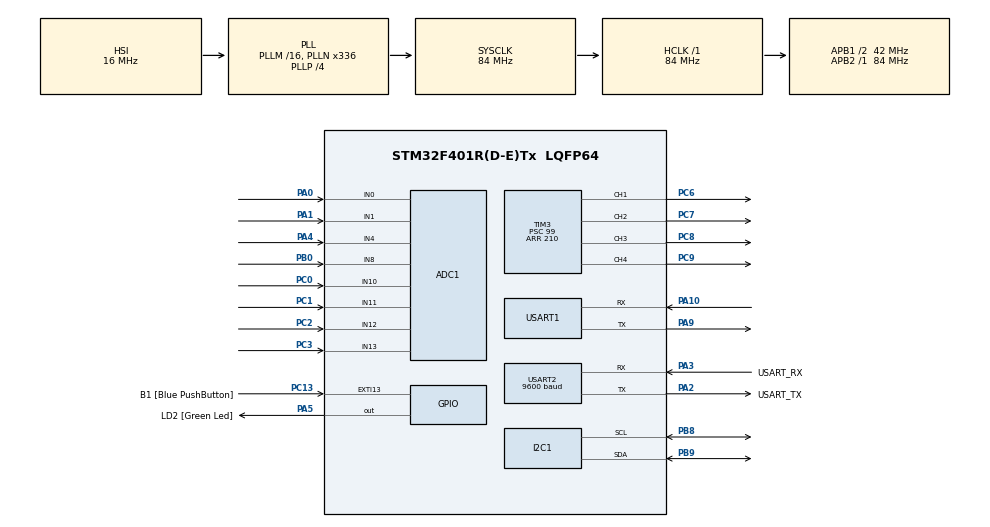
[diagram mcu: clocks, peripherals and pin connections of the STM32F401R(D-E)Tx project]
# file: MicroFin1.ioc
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ADC1.Channel-0\#ChannelRegularConversion=ADC_CHANNEL_0
ADC1.Channel-1\#ChannelRegularConversion=ADC_CHANNEL_1
ADC1.Channel-2\#ChannelRegularConversion=ADC_CHANNEL_4
ADC1.Channel-3\#ChannelRegularConversion=ADC_CHANNEL_8
ADC1.Channel-4\#ChannelRegularConversion=ADC_CHANNEL_11
ADC1.Channel-5\#ChannelRegularConversion=ADC_CHANNEL_10
ADC1.Channel-6\#ChannelRegularConversion=ADC_CHANNEL_12
ADC1.Channel-7\#ChannelRegularConversion=ADC_CHANNEL_13
ADC1.DMAContinuousRequests=ENABLE
ADC1.EOCSelection=ADC_EOC_SEQ_CONV
ADC1.InjNumberOfConversion=0
ADC1.NbrOfConversion=8
ADC1.NbrOfConversionFlag=1
ADC1.Rank-0\#ChannelRegularConversion=1
ADC1.Rank-1\#ChannelRegularConversion=2
ADC1.Rank-2\#ChannelRegularConversion=3
ADC1.Rank-3\#ChannelRegularConversion=4
ADC1.Rank-4\#ChannelRegularConversion=5
ADC1.Rank-5\#ChannelRegularConversion=6
ADC1.Rank-6\#ChannelRegularConversion=7
ADC1.Rank-7\#ChannelRegularConversion=8
ADC1.SamplingTime-0\#ChannelRegularConversion=ADC_SAMPLETIME_15CYCLES
ADC1.SamplingTime-1\#ChannelRegularConversion=ADC_SAMPLETIME_15CYCLES
ADC1.SamplingTime-2\#ChannelRegularConversion=ADC_SAMPLETIME_15CYCLES
ADC1.SamplingTime-3\#ChannelRegularConversion=ADC_SAMPLETIME_15CYCLES
ADC1.SamplingTime-4\#ChannelRegularConversion=ADC_SAMPLETIME_15CYCLES
ADC1.SamplingTime-5\#ChannelRegularConversion=ADC_SAMPLETIME_15CYCLES
ADC1.SamplingTime-6\#ChannelRegularConversion=ADC_SAMPLETIME_15CYCLES
ADC1.SamplingTime-7\#ChannelRegularConversion=ADC_SAMPLETIME_15CYCLES
ADC1.ScanConvMode=ENABLE
ADC1.master=1
Dma.ADC1.0.Direction=DMA_PERIPH_TO_MEMORY
Dma.ADC1.0.FIFOMode=DMA_FIFOMODE_DISABLE
Dma.ADC1.0.Instance=DMA2_Stream0
Dma.ADC1.0.MemDataAlignment=DMA_MDATAALIGN_HALFWORD
Dma.ADC1.0.MemInc=DMA_MINC_ENABLE
Dma.ADC1.0.Mode=DMA_NORMAL
Dma.ADC1.0.PeriphDataAlignment=DMA_PDATAALIGN_HALFWORD
Dma.ADC1.0.PeriphInc=DMA_PINC_DISABLE
Dma.ADC1.0.Priority=DMA_PRIORITY_LOW
Dma.Request0=ADC1
Mcu.Family=STM32F4
Mcu.Name=STM32F401R(D-E)Tx
Mcu.Package=LQFP64
NVIC.ADC_IRQn=true\:0\:0\:false\:false\:true\:true\:true\:true
NVIC.DMA2_Stream0_IRQn=true\:0\:0\:false\:false\:true\:false\:true\:true
NVIC.I2C1_ER_IRQn=true\:0\:0\:false\:false\:true\:true\:true\:true
NVIC.I2C1_EV_IRQn=true\:0\:0\:false\:false\:true\:true\:true\:true
NVIC.PriorityGroup=NVIC_PRIORITYGROUP_0
NVIC.TIM3_IRQn=true\:0\:0\:false\:false\:true\:true\:true\:true
NVIC.USART1_IRQn=true\:0\:0\:false\:false\:true\:true\:true\:true
PA0-WKUP.Signal=ADCx_IN0
PA1.Signal=ADCx_IN1
PA10.Mode=Asynchronous
PA10.Signal=USART1_RX
PA13.GPIO_Label=TMS
PA13.Mode=Serial_Wire
PA13.Signal=SYS_JTMS-SWDIO
PA14.GPIO_Label=TCK
PA14.Mode=Serial_Wire
PA14.Signal=SYS_JTCK-SWCLK
PA2.GPIO_Label=USART_TX
PA2.GPIO_Mode=GPIO_MODE_AF_PP
PA2.GPIO_PuPd=GPIO_NOPULL
PA2.GPIO_Speed=GPIO_SPEED_FREQ_LOW
PA2.Mode=Asynchronous
PA2.Signal=USART2_TX
PA3.GPIO_Label=USART_RX
PA3.GPIO_Mode=GPIO_MODE_AF_PP
PA3.GPIO_PuPd=GPIO_NOPULL
PA3.GPIO_Speed=GPIO_SPEED_FREQ_LOW
PA3.Mode=Asynchronous
PA3.Signal=USART2_RX
PA4.Signal=ADCx_IN4
PA5.GPIO_Label=LD2 [Green Led]
PA5.GPIO_Mode=GPIO_MODE_OUTPUT_PP
PA5.GPIO_PuPd=GPIO_NOPULL
PA5.GPIO_Speed=GPIO_SPEED_FREQ_LOW
PA5.Signal=GPIO_Output
PA9.Mode=Asynchronous
PA9.Signal=USART1_TX
PB0.Signal=ADCx_IN8
PB3.GPIO_Label=SWO
PB3.Signal=SYS_JTDO-SWO
PB8.Mode=I2C
PB8.Signal=I2C1_SCL
PB9.Mode=I2C
PB9.Signal=I2C1_SDA
PC0.Signal=ADCx_IN10
PC1.Signal=ADCx_IN11
PC13-ANTI_TAMP.GPIO_Label=B1 [Blue PushButton]
PC13-ANTI_TAMP.GPIO_ModeDefaultEXTI=GPIO_MODE_IT_FALLING
PC13-ANTI_TAMP.GPIO_PuPd=GPIO_NOPULL
PC13-ANTI_TAMP.Signal=GPXTI13
PC14-OSC32_IN.Mode=LSE-External-Oscillator
PC14-OSC32_IN.Signal=RCC_OSC32_IN
PC15-OSC32_OUT.Mode=LSE-External-Oscillator
PC15-OSC32_OUT.Signal=RCC_OSC32_OUT
PC2.Signal=ADCx_IN12
PC3.Signal=ADCx_IN13
PC6.Signal=S_TIM3_CH1
PC7.Signal=S_TIM3_CH2
PC8.Signal=S_TIM3_CH3
PC9.Signal=S_TIM3_CH4
PH0\ -\ OSC_IN.Mode=HSE-External-Clock-Source
PH0\ -\ OSC_IN.Signal=RCC_OSC_IN
PH1\ -\ OSC_OUT.Mode=HSE-External-Clock-Source
PH1\ -\ OSC_OUT.Signal=RCC_OSC_OUT
ProjectManager.HeapSize=0x200
ProjectManager.StackSize=0x400
ProjectManager.TargetToolchain=STM32CubeIDE
RCC.48MHZClocksFreq_Value=48000000
RCC.AHBFreq_Value=84000000
RCC.APB1CLKDivider=RCC_HCLK_DIV2
RCC.APB1Freq_Value=42000000
RCC.APB1TimFreq_Value=84000000
RCC.APB2Freq_Value=84000000
RCC.APB2TimFreq_Value=84000000
RCC.CortexFreq_Value=84000000
RCC.HCLKFreq_Value=84000000
RCC.HSE_VALUE=8000000
RCC.HSI_VALUE=16000000
RCC.PLLN=336
RCC.PLLP=RCC_PLLP_DIV4
RCC.PLLQ=7
RCC.SYSCLKFreq_VALUE=84000000
RCC.SYSCLKSource=RCC_SYSCLKSOURCE_PLLCLK
RCC.VCOOutputFreq_Value=336000000
SH.ADCx_IN0.0=ADC1_IN0,IN0
SH.ADCx_IN1.0=ADC1_IN1,IN1
SH.ADCx_IN10.0=ADC1_IN10,IN10
SH.ADCx_IN11.0=ADC1_IN11,IN11
SH.ADCx_IN12.0=ADC1_IN12,IN12
SH.ADCx_IN13.0=ADC1_IN13,IN13
SH.ADCx_IN4.0=ADC1_IN4,IN4
SH.ADCx_IN8.0=ADC1_IN8,IN8
SH.S_TIM3_CH1.0=TIM3_CH1,PWM Generation1 CH1
SH.S_TIM3_CH2.0=TIM3_CH2,PWM Generation2 CH2
SH.S_TIM3_CH3.0=TIM3_CH3,PWM Generation3 CH3
SH.S_TIM3_CH4.0=TIM3_CH4,PWM Generation4 CH4
TIM3.AutoReloadPreload=TIM_AUTORELOAD_PRELOAD_ENABLE
TIM3.Channel-PWM\ Generation1\ CH1=TIM_CHANNEL_1
TIM3.Channel-PWM\ Generation2\ CH2=TIM_CHANNEL_2
TIM3.Channel-PWM\ Generation3\ CH3=TIM_CHANNEL_3
TIM3.Channel-PWM\ Generation4\ CH4=TIM_CHANNEL_4
TIM3.Period=210
TIM3.Prescaler=99
TIM4.AutoReloadPreload=TIM_AUTORELOAD_PRELOAD_ENABLE
TIM4.Period=42
TIM4.Prescaler=999
USART1.VirtualMode=VM_ASYNC
USART2.BaudRate=9600
USART2.VirtualMode=VM_ASYNC
VP_TIM3_VS_ClockSourceINT.Mode=Internal
VP_TIM4_VS_ClockSourceINT.Mode=Internal
board=NUCLEO-F401RE

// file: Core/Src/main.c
/* USER CODE BEGIN Header */
/**
  ******************************************************************************
  * @file           : main.c
  * @brief          : Main program body
  ******************************************************************************
  * @attention
  *
  * <h2><center>&copy; Copyright (c) 2021 STMicroelectronics.
  * All rights reserved.</center></h2>
  *
  * This software component is licensed by ST under BSD 3-Clause license,
  * the "License"; You may not use this file except in compliance with the
  * License. You may obtain a copy of the License at:
  *                        opensource.org/licenses/BSD-3-Clause
  *
  ******************************************************************************
  */
/* USER CODE END Header */
#include "main.h"

/* USER CODE BEGIN Includes */
#include "string.h"
#include "stdlib.h"
/* USER CODE END Includes */

/* USER CODE BEGIN PTD */
 typedef union{
        uint8_t u8[4];
        int8_t  i8[4];

        uint16_t u16[2];
        int16_t  i16[2];

        uint32_t u32;
        int32_t  i32;

        float    f;
}_sWork;

typedef union{
    struct{
        uint8_t b0:1;
        uint8_t b1:1;
        uint8_t b2:1;
        uint8_t b3:1;
        uint8_t b4:1;
        uint8_t b5:1;
        uint8_t b6:1;
        uint8_t b7:1;
    }bit;
    uint8_t byte;
}flag;

/* USER CODE END PTD */

/* USER CODE BEGIN PM */
#define race 				flag1.bit.b0
#define ON100MS				flag1.bit.b1
#define ON10MS				flag1.bit.b2
#define stop				flag1.bit.b3
#define readyToSend			flag1.bit.b4
#define espReadyToRecieve	flag1.bit.b5
#define killRace			flag1.bit.b6
#define espConnected		flag2.bit.b0
#define sendALIVE			flag2.bit.b1

#define UART_PC		2
#define UART_ESP	1
#define LONG_CWJAP_MEGA	36
#define LONG_CWJAP_MICROS	35
#define LONG_ANS_CWJAP_MEGA	70
#define LONG_ANS_CWJAP_MICROS 70
const char CWJAP_MEGA[]="AT+CWJAP=\"FTTHBOUVET\",\"wenvla3112\"\r\n";
const char CWJAP_MICROS[]="AT+CWJAP=\"MICROS\",\"micros1234567\"\r\n";
const char CIFSR[]="AT+CIFSR\r\n";
const char CIPMUX[]="AT+CIPMUX=0\r\n";
const char CIPSTART[]="AT+CIPSTART=\"UDP\",\"192.168.1.195\",30017,3017\r\n";
const char CIPSEND[]="AT+CIPSEND=";
const char CIPCLOSE[]="AT+CIPCLOSE\r\n";
const char CWQAP[]= "AT+CWQAP\r\n";
const char CWMODE[]="AT+CWMODE=3\r\n";
const char ANS_CWQAP[]="AT+CWQAP\r\n\r\nOK\r\n";
const char ANS_CWMODE[]="AT+CWMODE=3\r\n\r\nOK\r\n";
const char ANS_CWJAP_MEGA[]="AT+CWJAP=\"FTTHBOUVET\",\"wenvla3112\"\r\nWIFI CONNECTED\r\nWIFI GOT IP\r\n\r\nOK\r\n";
const char ANS_CWJAP_MICROS[]="AT+CWJAP=\"MICROS\",\"micros1234567\"\r\nWIFI CONNECTED\r\nWIFI GOT IP\r\n\r\nOK\r\n";

const char ANS_CIPMUX[]="AT+CIPMUX=0\r\n\r\nOK\r\n";
const char ANS_CIPSTART[]="AT+CIPSTART=\"UDP\",\"192.168.1.195\",30017,3017\r\nCONNECT\r\n\r\nOK\r\n";//61
const char ANS_CIPSEND[]={};
const char AUTOMATIC_WIFI_CONNECTED[]={"WIFI CONNECTED\r\nWIFI GOT IP\r\n"};
const char WIFI_DISCONNECT[]="WIFI DISCONNECT\r\n";
const char CIFSR_STAIP[]="+CIFSR:STAIP,";
const char OK[]="\r\nOK\r\n";
const char CIPSEND1[]={'A','T','+','C','I','P','S','E','N','D','='};
const char CIPSEND2[]={'\r','\n','\r','\n','O','K','\r','\n','>'};
const char CIPSEND3[]="Recv ";
const char CIPSEND4[]={" bytes\r\n\r\nSEND OK\r\n"};//25
const char IPD[]="\r\n+IPD,";
const char UNER[]="UNER";
const char ALIVE[]={'U','N','E','R', 0x02 ,':',0xF0};
const char ACK_D0[]={'U','N','E','R',0x03,':',0xD0,0x0D,0xDC};
const int COORD_SENSORES[]={-5,-4,-3,-2,-1,1,2,3,4,5};
/* USER CODE END PM */

ADC_HandleTypeDef hadc1;
DMA_HandleTypeDef hdma_adc1;

I2C_HandleTypeDef hi2c1;

TIM_HandleTypeDef htim3;
TIM_HandleTypeDef htim4;

UART_HandleTypeDef huart1;
UART_HandleTypeDef huart2;

/* USER CODE BEGIN PV */

volatile uint16_t ADCData[32][8];

volatile uint8_t bufferTxESP[256];
volatile uint8_t bufferRxESP[256];
volatile uint8_t bufferDebug[256];
volatile uint8_t buffer_PC_RX[256];
volatile uint8_t indexR_TxESP=0;
volatile uint8_t indexW_TxESP=0;
volatile uint8_t indexR_RxESP=0;
volatile uint8_t indexW_RxESP=0;
volatile uint8_t indexR_Debug=0;
volatile uint8_t indexW_Debug=0;
volatile uint8_t indexR_PC_RX=0;
volatile uint8_t indexW_PC_RX=0;
uint8_t AT=0;

volatile uint8_t time100ms;
volatile uint8_t time10ms;
uint8_t timeOut=0;
uint8_t timeOut2=0;
uint8_t timeOut3=0;
uint8_t timeToSendAlive=0;
uint8_t timeOutADC=0;
uint8_t timeOutPID=0;

uint8_t duty=0;
uint8_t decodeCIPSEND=0;
uint8_t decodeCIFSR=0;
char espIP[15];
uint8_t lengthIP=0;

uint32_t cmdUNERprotocol;
uint8_t bytesUNERprotocol;
uint8_t decodeIPD;
uint8_t cantBytes;
uint8_t cks;
uint8_t bytesToSend;
uint8_t comando=0xF0;
volatile uint8_t indexADC=0;
uint8_t bytesToSend_aux=0;

_sWork PWM_motor1,PWM_motor2,jobTime,error;
_sWork valueADC[8];
volatile flag flag1,flag2;

_sWork Kp,Kd,Ki;
float integral=0,derivativo=0,turn=0,Error=0,lastError=0;

uint8_t comandoActual=0;

uint8_t firstCalcu=1,timeOutArranque;
_sWork pwmBase;

/* USER CODE END PV */

void SystemClock_Config(void);
static void MX_GPIO_Init(void);
static void MX_DMA_Init(void);
static void MX_USART2_UART_Init(void);
static void MX_ADC1_Init(void);
static void MX_I2C1_Init(void);
static void MX_TIM3_Init(void);
static void MX_TIM4_Init(void);
static void MX_USART1_UART_Init(void);
/* USER CODE BEGIN PFP */

void HAL_UART_RxCpltCallback(UART_HandleTypeDef *huart);
void uartTX(uint8_t uart);
void initESP();
void DecodeAnsESP();
void udpCom(uint8_t cmd);
void DecodeCommands(uint8_t *buffer,uint8_t cmdPosInBuff);
void readADC();
void SerialCom(uint8_t cmd);
float findTheLine();
void DecodeQT();
void calculatePID(uint32_t pwmBase1,uint32_t pwmBase2);

/* USER CODE END PFP */

/* USER CODE BEGIN 0 */

void HAL_UART_RxCpltCallback(UART_HandleTypeDef *huart){
	if(huart->Instance==USART1){
		indexW_RxESP++;
		HAL_UART_Receive_IT(&huart1,(uint8_t *) &bufferRxESP[indexW_RxESP], 1);
	}

	if(huart->Instance==USART2){
		indexW_PC_RX++;
		HAL_UART_Receive_IT(&huart1,(uint8_t *) &buffer_PC_RX[indexW_PC_RX], 1);
	}
}

void HAL_ADC_ConvCpltCallback(ADC_HandleTypeDef* hadc)
{
	indexADC++;
	if(indexADC == 32)
		indexADC=0;

}

void HAL_TIM_PeriodElapsedCallback(TIM_HandleTypeDef *htim){
	if(htim->Instance == TIM4){
		HAL_ADC_Start_DMA(&hadc1, (uint32_t *)&ADCData[indexADC],8);

		time100ms--;
		if(!time100ms){
			time100ms=200;
			ON100MS = 1;
		}
		time10ms--;
		if(!time10ms){
			time10ms=20;
			ON10MS = 1;
		}

	}
}

void DecodeAnsESP(){
	static uint8_t i=0,k=1,cmdPosInBuff;
//	bufferDebug[indexW_Debug]=bufferRxESP[indexR_RxESP];
//	indexW_Debug++;
	switch(AT){
		case 0:
			if(bufferRxESP[indexR_RxESP]==ANS_CWMODE[i]){
				i++;
				if(i==19){
					AT++;
					i=0;
					readyToSend=1;
				}
			}else{
				if(!timeOut2){
					indexR_RxESP=indexW_RxESP;
					readyToSend=1;
					i=0;
					break;
				}
			}
			break;

		case 1:
			if(bufferRxESP[indexR_RxESP]==AUTOMATIC_WIFI_CONNECTED[i]){
				i++;
				if(i==29){
					AT=3;
					i=0;
					readyToSend=1;
				}
			}
			else{
				if(bufferRxESP[indexR_RxESP]==WIFI_DISCONNECT[i]){
					i++;
					if(i==17){
						AT=0;
						i=0;
						readyToSend=1;
						HAL_UART_AbortReceive_IT(&huart1);
						HAL_GPIO_WritePin(GPIOB, GPIO_PIN_10, GPIO_PIN_RESET);//Reset ESP8266
						timeOut=20;
					}
				}else{
					AT=2;
					i=0;
					readyToSend=1;
					indexR_RxESP=indexW_RxESP;
					break;
				}
			}
			break;
		case 2:
			if(bufferRxESP[indexR_RxESP]==ANS_CWJAP_MEGA[i]){
				i++;

				if(i==LONG_ANS_CWJAP_MEGA){
					AT++;
					i=0;
					readyToSend=1;
				}
			}
			else{
				if(!timeOut2){
					indexR_RxESP=indexW_RxESP;
					readyToSend=1;
					i=0;
					break;
				}
			}
			break;
		case 3:
			if(bufferRxESP[indexR_RxESP]==ANS_CIPMUX[i]){
				i++;
				if(i==19){
					AT+=2;
					i=0;
					readyToSend=1;
				}
			}else{
				if(!timeOut2){
					indexR_RxESP=indexW_RxESP;
					readyToSend=1;
					i=0;
					break;
				}
			}
			break;
		case 4:
			switch(decodeCIFSR){
				case 0:
					if(bufferRxESP[indexR_RxESP]==CIFSR[i]){
						i++;

						if(i==10){
							decodeCIFSR++;
							i=0;
						}
					}else{
						if(!timeOut2){
							indexR_RxESP=indexW_RxESP;
							readyToSend=1;
							i=0;
							break;
						}
					}
					break;
				case 1:
					if(bufferRxESP[indexR_RxESP]==CIFSR_STAIP[i]){
						i++;
						if(i==13){
							decodeCIFSR++;
							i=0;
						}
					}
					break;
				case 2:
					espIP[i]=bufferRxESP[indexR_RxESP];
					i++;
					lengthIP++;
					if((bufferRxESP[indexR_RxESP]=='"')&&(lengthIP>1)){
						i=0;
						decodeCIFSR++;
					}
					break;
				case 3:
					if(bufferRxESP[indexR_RxESP]==OK[i]){
						i++;
						if(i==6){
							AT++;
							i=0;
							readyToSend=1;
							decodeCIFSR=0;
						}
					}
					break;
			}

			break;
		case 5:
			if(bufferRxESP[indexR_RxESP]==ANS_CIPSTART[i]){
				i++;
				if(i==60){
					AT++;
					i=0;
					readyToSend=1;
					espConnected=1;
				}
			}else{
				if(!timeOut2){
					indexR_RxESP=indexW_RxESP;
					readyToSend=1;
					i=0;
					break;
				}
			}
			break;
		case 6:
			switch(decodeCIPSEND){
					case 0:
						if(bufferRxESP[indexR_RxESP]==CIPSEND1[i]){
							i++;
							if(i==11){
								i=0;
								decodeCIPSEND++;
							}
						}
						else{
							if(!timeOut2){
								indexR_RxESP=indexW_RxESP;
								readyToSend=1;
								i=0;
								espReadyToRecieve=0;
								sendALIVE=0;
								timeToSendAlive=30;
								break;
							}
						}
						break;
					case 1:
						if((bufferRxESP[indexR_RxESP]==bytesToSend+'0')&&((bytesToSend<10))){
							decodeCIPSEND+=2;
						}else{

							if(bufferRxESP[indexR_RxESP]==bytesToSend/10+'0'){
								decodeCIPSEND++;
								bytesToSend_aux=bytesToSend/10;
								bytesToSend_aux*=10;
							}

						}
						break;
					case 2:
						if(bufferRxESP[indexR_RxESP]==bytesToSend-bytesToSend_aux+'0'){
							decodeCIPSEND++;
						}
						break;
					case 3:
						if(bufferRxESP[indexR_RxESP]==CIPSEND2[i]){
							i++;
							if(i==9){
								i=0;
								decodeCIPSEND++;
								espReadyToRecieve=1;
								readyToSend=1;
							}
						}else{
							if(!timeOut2){
								i=0;
								decodeCIPSEND=0;
								espReadyToRecieve=0;
								readyToSend=1;
								indexR_RxESP=indexW_RxESP;
								sendALIVE=0;
								timeToSendAlive=30;
								return;
							}
						}

						break;
					case 4:
						if(bufferRxESP[indexR_RxESP]==CIPSEND3[i]){
							i++;
							if(i==5){
								i=0;
								decodeCIPSEND++;
							}
						}else{
							if(!timeOut2){
								i=0;
								decodeCIPSEND=0;
								espReadyToRecieve=0;
								readyToSend=1;
								indexR_RxESP=indexW_RxESP;
								sendALIVE=0;
								timeToSendAlive=30;
								break;
							}
						}
						break;
					case 5:
						if((bufferRxESP[indexR_RxESP]==bytesToSend+'0')&&((bytesToSend<10))){
							decodeCIPSEND++;
							decodeCIPSEND++;
						}else{

							if(bufferRxESP[indexR_RxESP]==bytesToSend/10+'0'){
								decodeCIPSEND++;
							}else{
								i=0;
								decodeCIPSEND=0;
								espReadyToRecieve=0;
								readyToSend=1;
								indexR_RxESP=indexW_RxESP;
								sendALIVE=0;
								timeToSendAlive=30;
								break;
							}
						}
						break;
					case 6:
						if(bufferRxESP[indexR_RxESP]==bytesToSend-bytesToSend_aux+'0'){
							decodeCIPSEND++;
						}else{
							i=0;
							decodeCIPSEND=0;
							espReadyToRecieve=0;
							readyToSend=1;
							indexR_RxESP=indexW_RxESP;
							sendALIVE=0;
							timeToSendAlive=30;
							break;
						}
						break;
					case 7:
						if(bufferRxESP[indexR_RxESP]==CIPSEND4[i]){
							i++;
							if(i==19){
								i=0;
								decodeCIPSEND=0;
								readyToSend=1;
								espReadyToRecieve=0;
							}
						}else{
							if(!timeOut2){
								indexR_RxESP=indexW_RxESP;
								i=0;
								decodeCIPSEND=0;
								espReadyToRecieve=0;
								readyToSend=1;
								sendALIVE=0;
								timeToSendAlive=30;
								break;
							}
						}
						break;
				}

			break;
		case 7:
			switch(decodeIPD){
				case 0:
					if(bufferRxESP[indexR_RxESP]==IPD[i]){
						i++;

						if(i==7){
							i=0;
							decodeIPD++;
						}
					}
					else{
						if(i>0){
							indexR_RxESP=indexW_RxESP;
							i=0;
							break;
						}
					}
					break;
				case 1:
					if(bufferRxESP[indexR_RxESP]==':'){
						decodeIPD++;
					}
					break;
				case 2:
					if(bufferRxESP[indexR_RxESP]==UNER[i]){
						i++;
						if(i==4){
							i=0;
							decodeIPD++;
							cks='U'^'N'^'E'^'R';
						}
					}else{
						if(i>0){
							indexR_RxESP=indexW_RxESP;
							i=0;
							decodeIPD=0;
							break;
						}
					}
					break;
				case 3:
					bytesUNERprotocol=bufferRxESP[indexR_RxESP];
					decodeIPD++;
					cks^=bufferRxESP[indexR_RxESP];

					break;
				case 4:
					if(bufferRxESP[indexR_RxESP]==':'){
						decodeIPD++;
						cks^=bufferRxESP[indexR_RxESP];

					}else{
						indexR_RxESP=indexW_RxESP;
						i=0;
						decodeIPD=0;
						break;
					}
					break;
				case 5:
					if(k==1)
						cmdPosInBuff=indexR_RxESP;
					if(k<bytesUNERprotocol){
						cks^=bufferRxESP[indexR_RxESP];
						k++;
					}else{
						if(cks==bufferRxESP[indexR_RxESP]){
							DecodeCommands((uint8_t*)&bufferRxESP,cmdPosInBuff);
							HAL_GPIO_TogglePin(LD2_GPIO_Port, LD2_Pin);
							k=1;
							i=0;
							decodeIPD=0;
						}else{
							i=0;
							decodeIPD=0;
							k=1;
						}
					}
					break;
			}
			break;
			default:

				break;
	}
	indexR_RxESP++;
}

uint8_t posMINCenter=0,posMINRight=0,posMINLeft=0;
uint16_t sensorValue=0;
float xMin=0,fx2_fx3,fx2_fx1,x2_x1,x2_x3,x2_x1cuad,x2_x3cuad,denominador;
uint8_t f=0;

float findTheLine(){//ALGORITMO CUADRATICO
	float aux[10];

	sensorValue = valueADC[0].u16[0];

	posMINCenter=0;
	while(f<8){					//ENCUENTRO LA MENOR LECTURA
		if(sensorValue > valueADC[f].u16[0]){
			sensorValue=valueADC[f].u16[0];
			posMINCenter=f;
		}
		aux[f+1]=valueADC[f].u16[0];
		f+=1;
	}
	f=0;
	posMINCenter+=1;
	aux[0]=aux[2];
	aux[9]=aux[7];

	posMINRight=posMINCenter-1;
	posMINLeft=posMINCenter+1;
	fx2_fx3=aux[posMINCenter]-aux[posMINRight];
	fx2_fx1=aux[posMINCenter]-aux[posMINLeft];
	x2_x1=COORD_SENSORES[posMINCenter]-COORD_SENSORES[posMINLeft];
	x2_x1cuad=(x2_x1*x2_x1);
	x2_x3=COORD_SENSORES[posMINCenter]-COORD_SENSORES[posMINRight];
	x2_x3cuad=(x2_x3*x2_x3);
	denominador=(2*(x2_x1*fx2_fx3-x2_x3*fx2_fx1));
	if(denominador!=0){
		xMin=COORD_SENSORES[posMINCenter]-( x2_x1cuad*fx2_fx3 - x2_x3cuad*fx2_fx1 ) / denominador;
	}
	return -xMin;
}

void readADC(){
static uint8_t firstRead=1;

	if(indexADC>2){
		firstRead=0;
		for(uint8_t c=0;c<8;c++){
			valueADC[c].u32=( ADCData[indexADC-1][c]+ADCData[indexADC-2][c]+ADCData[indexADC-3][c] ) / 3 ;
		}
	}
	else{
		if(!firstRead){
			for(uint8_t c=0;c<8;c++){
				switch(indexADC){
					case 2:
						valueADC[c].u32=(ADCData[1][c]+ADCData[0][c]+ADCData[31][c]) / 3;
						break;
					case 1:
						valueADC[c].u32=( ADCData[0][c]+ADCData[31][c]+ADCData[30][c] ) / 3 ;
						break;
					case 0:
						valueADC[c].u32=( ADCData[31][c]+ADCData[30][c]+ADCData[29][c] ) / 3;
						break;
				}
			}
		}
	}
}

void uartTX(uint8_t uart){

	if(uart == UART_PC ){
		if((huart2.Instance->SR & UART_FLAG_TXE)==UART_FLAG_TXE){
			huart2.Instance->DR=bufferDebug[indexR_Debug];
			indexR_Debug++;
		}
	}

	if(uart == UART_ESP ){
		if((huart1.Instance->SR & UART_FLAG_TXE)==UART_FLAG_TXE){
			huart1.Instance->DR=bufferTxESP[indexR_TxESP];
			indexR_TxESP++;
		}
	}
}

void SerialCom(uint8_t cmd){
	uint8_t cks,h=0;
	switch(cmd){
		case 0xA1:

			memcpy((uint8_t*)&bufferDebug[indexW_Debug],UNER,4);
			indexW_Debug+=4;
			cks='U'^'N'^'E'^'R';

			bufferDebug[indexW_Debug]=22;
			indexW_Debug+=1;
			cks^=22;

			bufferDebug[indexW_Debug]=':';
			indexW_Debug+=1;
			cks^=':';

			bufferDebug[indexW_Debug]=0xA1;
			indexW_Debug+=1;
			cks^=0xA1;
			h=0;
			while(h<8){
				bufferDebug[indexW_Debug]=valueADC[h].u8[0];
				indexW_Debug+=1;
				cks^=valueADC[h].u8[0];
				bufferDebug[indexW_Debug]=valueADC[h].u8[1];
				indexW_Debug+=1;
				cks^=valueADC[h].u8[1];
				h+=1;
			}

			bufferDebug[indexW_Debug]=error.u8[0];
			cks^=error.u8[0];
			indexW_Debug+=1;

			bufferDebug[indexW_Debug]=error.u8[1];
			cks^=error.u8[1];
			indexW_Debug+=1;

			bufferDebug[indexW_Debug]=error.u8[2];
			cks^=error.u8[2];
			indexW_Debug+=1;

			bufferDebug[indexW_Debug]=error.u8[3];
			cks^=error.u8[3];
			indexW_Debug+=1;

			bufferDebug[indexW_Debug]=cks;
			indexW_Debug+=1;

			break;
	}
}

void  initESP(){

	if(readyToSend){
		switch(AT){
			case 0:
				memcpy((uint8_t *)&bufferTxESP[indexW_TxESP],CWMODE,13);
				indexW_TxESP+=13;
				timeOut2=10;
				readyToSend=0;
				break;
			case 1:
				timeOut2=100;
				readyToSend=0;
				break;
			case 2:
				memcpy((uint8_t *)&bufferTxESP[indexW_TxESP],CWJAP_MEGA,LONG_CWJAP_MEGA);
				indexW_TxESP+=LONG_CWJAP_MEGA;
				timeOut2=50;
				readyToSend=0;
				break;
			case 3:
				memcpy((uint8_t *)&bufferTxESP[indexW_TxESP],CIPMUX,13);
				indexW_TxESP+=13;
				timeOut2=20;
				readyToSend=0;
				break;
			case 4:
				memcpy((uint8_t *)&bufferTxESP[indexW_TxESP],CIFSR,10);
				indexW_TxESP+=10;
				timeOut2=20;
				readyToSend=0;
				break;
			case 5:
				memcpy((uint8_t *)&bufferTxESP[indexW_TxESP],CIPSTART,46);
				indexW_TxESP+=45;
				timeOut2=20;
				readyToSend=0;
				break;
			case 6:
				duty++;
				break;
		}
	}
}

void udpCom(uint8_t cmd){
	if(readyToSend){
		switch(cmd){
			case 0xF0:
				if(!espReadyToRecieve){
					AT=6;
					memcpy((uint8_t*)&bufferTxESP[indexW_TxESP],CIPSEND,11);
					indexW_TxESP+=11;
					memcpy((uint8_t*)&bufferTxESP[indexW_TxESP],"8\r\n",3);
					indexW_TxESP+=3;
					bytesToSend=8;
					timeOut2=2;
					readyToSend=0;
				}
				else{
					memcpy((uint8_t*)&bufferTxESP[indexW_TxESP],ALIVE,7);
					indexW_TxESP+=7;
					bufferTxESP[indexW_TxESP]='U'^'N'^'E'^'R'^0x02^':'^0xF0;
					indexW_TxESP+=1;
					espReadyToRecieve=0;
					sendALIVE=0;
					readyToSend=0;
				}
				break;
			case 0xD0:
				if(!espReadyToRecieve){
					AT=6;
					memcpy((uint8_t*)&bufferTxESP[indexW_TxESP],CIPSEND,11);
					indexW_TxESP+=11;
					memcpy((uint8_t*)&bufferTxESP[indexW_TxESP],"9\r\n",3);
					indexW_TxESP+=3;
					bytesToSend=9;
					timeOut2=20;
					readyToSend=0;
				}
				else{
					memcpy((uint8_t*)&bufferTxESP[indexW_TxESP],ACK_D0,9);
					indexW_TxESP+=9;
					bufferTxESP[indexW_TxESP]='U'^'N'^'E'^'R'^0x03^':'^0xD0^0x0D;
					indexW_TxESP++;
					espReadyToRecieve=0;
					duty++;
				}
				break;
		}
	}
}

void DecodeQT(){
	static uint8_t i=0,step=0,cksQT,counter=1,cmdPosInBuff;

	switch(step){
		case 0:
			if(buffer_PC_RX[indexR_PC_RX]==UNER[i]){
				i++;
				if(i==4){
					step++;
					i=0;
					cksQT='U'^'N'^'E'^'R';
				}
			}else
				i=0;

			break;
		case 1:
			bytesUNERprotocol=buffer_PC_RX[indexR_PC_RX];
			step++;
			cksQT^=bytesUNERprotocol;
			break;
		case 2:
			if(buffer_PC_RX[indexR_PC_RX]==':'){
				step++;
				cksQT^=':';
			}else{
				step=0;
			}
			break;
		case 3:
			if(counter==1)
				cmdPosInBuff=indexR_PC_RX;
			if(counter<bytesUNERprotocol){
				cksQT^=buffer_PC_RX[indexR_PC_RX];
				counter++;
			}else{
				if(cksQT==buffer_PC_RX[indexR_PC_RX]){
					DecodeCommands((uint8_t*)&buffer_PC_RX, cmdPosInBuff);
				}
				step=0;
				counter=1;
			}
	}
	indexR_PC_RX++;
}

void DecodeCommands(uint8_t *buffer,uint8_t indexCMD){
	uint8_t i=1;

	switch(buffer[indexCMD]){
		case 0xB0://STOP AUTITO
				comandoActual=0xB0;
				stop=1;
				break;
		case 0xF1: //START AUTITO
				PWM_motor1.u8[0]=buffer[indexCMD+i];
				i++;
				PWM_motor1.u8[1]=buffer[indexCMD+i];
				i++;
				PWM_motor1.u8[2]=buffer[indexCMD+i];
				i++;
				PWM_motor1.u8[3]=buffer[indexCMD+i];
				PWM_motor2.u32=PWM_motor1.u32;
				comandoActual=0xF1;
				race=1;
				timeOutPID=2;
				break;
		case 0xC0:	//SETEAR PARAMETROS CONTROL PID
				Kp.u8[0]=buffer[indexCMD+i];
				i++;
				Kp.u8[1]=buffer[indexCMD+i];
				i++;
				Kp.u8[2]=buffer[indexCMD+i];
				i++;
				Kp.u8[3]=buffer[indexCMD+i];
				i++;
				Kp.u8[0]=buffer[indexCMD+i];
				i++;
				Kd.u8[1]=buffer[indexCMD+i];
				i++;
				Kd.u8[2]=buffer[indexCMD+i];
				i++;
				Kd.u8[3]=buffer[indexCMD+i];
				i++;
				Ki.u8[0]=buffer[indexCMD+i];
				i++;
				Ki.u8[1]=buffer[indexCMD+i];
				i++;
				Ki.u8[2]=buffer[indexCMD+i];
				i++;
				Ki.u8[3]=buffer[indexCMD+i];
				i++;
				comandoActual=0xC0;

				break;
		case 0xF0: //ALIVE
				duty=2;
				readyToSend=1;
				AT=6;
				break;

		case 0xD0://JOB TIME
				PWM_motor1.u8[0]=buffer[indexCMD+i];
				i++;
				PWM_motor1.u8[1]=buffer[indexCMD+i];
				i++;
				PWM_motor1.u8[2]=buffer[indexCMD+i];
				i++;
				PWM_motor1.u8[3]=buffer[indexCMD+i];
				i++;
				PWM_motor2.u8[0]=buffer[indexCMD+i];
				i++;
				PWM_motor2.u8[1]=buffer[indexCMD+i];
				i++;
				PWM_motor2.u8[2]=buffer[indexCMD+i];
				i++;
				PWM_motor2.u8[3]=buffer[indexCMD+i];
				i++;

				jobTime.u8[0]=bufferRxESP[indexCMD+i];
				i++;
				jobTime.u8[1]=bufferRxESP[indexCMD+i];
				i++;
				jobTime.u8[2]=bufferRxESP[indexCMD+i];
				i++;
				jobTime.u8[3]=bufferRxESP[indexCMD+i];
				i++;
				jobTime.u32=jobTime.u32/100;
				__HAL_TIM_SET_COMPARE(&htim3,TIM_CHANNEL_1,PWM_motor1.u32);
				__HAL_TIM_SET_COMPARE(&htim3,TIM_CHANNEL_2,0);
				__HAL_TIM_SET_COMPARE(&htim3,TIM_CHANNEL_3,0);
				__HAL_TIM_SET_COMPARE(&htim3,TIM_CHANNEL_4,PWM_motor2.u32);
				race=1;
				killRace=1;
				duty=2;
				comandoActual=0xD0;
				comando=0xD0;
				readyToSend=1;
				break;

	}
}

void calculatePID(uint32_t pwmBase1,uint32_t pwmBase2){
	float pwm1,pwm2;

	integral+=error.f;
	derivativo=error.f-lastError;
	turn= Kp.f*error.f + Kd.f*derivativo + Ki.f*integral;
	pwm1=pwmBase1-turn;
	pwm2=pwmBase2+turn;

	if(pwm1>200)
		pwm1=200;
	if(pwm2>200)
		pwm2=200;
	__HAL_TIM_SET_COMPARE(&htim3,TIM_CHANNEL_1,pwm1);
	__HAL_TIM_SET_COMPARE(&htim3,TIM_CHANNEL_2,0);
	__HAL_TIM_SET_COMPARE(&htim3,TIM_CHANNEL_3,0);
	__HAL_TIM_SET_COMPARE(&htim3,TIM_CHANNEL_4,pwm2);
	lastError=error.f;
}

/* USER CODE END 0 */

int main(void)
{

  /* MCU Configuration--------------------------------------------------------*/

  /* Reset of all peripherals, Initializes the Flash interface and the Systick. */
  HAL_Init();

  /* Configure the system clock */
  SystemClock_Config();

  /* Initialize all configured peripherals */
  MX_GPIO_Init();
  MX_DMA_Init();
  MX_USART2_UART_Init();
  MX_ADC1_Init();
  MX_I2C1_Init();
  MX_TIM3_Init();
  MX_TIM4_Init();
  MX_USART1_UART_Init();
  /* USER CODE BEGIN 2 */
  HAL_TIM_Base_Start(&htim3);

  HAL_TIM_PWM_Start(&htim3, TIM_CHANNEL_1);
  HAL_TIM_PWM_Start(&htim3, TIM_CHANNEL_2);
  HAL_TIM_PWM_Start(&htim3, TIM_CHANNEL_3);
  HAL_TIM_PWM_Start(&htim3, TIM_CHANNEL_4);
  /* USER CODE END 2 */

  /* Infinite loop */
  /* USER CODE BEGIN WHILE */
  HAL_TIM_Base_Start_IT(&htim4);
  HAL_GPIO_WritePin(GPIOB, GPIO_PIN_10, GPIO_PIN_SET);//ESP8266 Pin Enable
  timeOut2=30;
  timeOut3=10;
  timeToSendAlive=30;
  timeOut=30;
  readyToSend=1;
  race=0;
  killRace=0;
  stop=0;
  duty=0;
  espConnected=0;
  sendALIVE=0;

  PWM_motor1.u32=0;
  PWM_motor2.u32=0;
  time100ms=200;
  time10ms=20;
  timeOutADC=0;
  HAL_UART_Receive_IT(&huart2, (uint8_t *)&buffer_PC_RX[indexW_PC_RX],1);
  while (1)
  {
    /* USER CODE END WHILE */

    /* USER CODE BEGIN 3 */
	  if(ON100MS){
		ON100MS=0;
	  	if(timeOut>0)
			timeOut--;
		if(timeOut2>0)
			timeOut2--;
		if(timeOut3>0)
			timeOut3--;
		if(jobTime.u32>0)
			jobTime.u32--;
		if((timeToSendAlive>0)&&(espConnected))
			timeToSendAlive--;

	  }

	  if(ON10MS){
		  ON10MS=0;
		  if(timeOutADC>0)
			timeOutADC--;

		  if(timeOutPID>0)
				timeOutPID--;
	  }

	  if(!timeOut3){
		  HAL_GPIO_TogglePin(GPIOA, GPIO_PIN_5);
		  timeOut3=10;

	  }
	  if( (!timeToSendAlive) && (espConnected) ){
		  sendALIVE=1;
		  espReadyToRecieve=0;
		  timeToSendAlive=30;
		  readyToSend=1;
	  }
	  if(sendALIVE)
		  udpCom(0xF0);

	  switch(duty){
	  	  case 0:
	  		  if(!timeOut){
	  			 initESP();
	  			 HAL_UART_Receive_IT(&huart1, (uint8_t *)&bufferRxESP[indexW_RxESP], 1);
	  		  	 duty++;
	  		  }
	  		  break;
	  	  case 1:
	  		  initESP();
	  		  break;
	  }

	  if(!timeOutADC){
		readADC();
		error.f=findTheLine();
		timeOutADC=2;
//		SerialCom(0xA1);
	  }

	  if( (race) && (!timeOutPID) ){
		  calculatePID(PWM_motor1.u32,PWM_motor2.u32);
		  timeOutPID=2;

	  }

	  if( ( ( (!jobTime.u32) && (killRace) ) ) || (stop) ) {
		  stop=0;
		  race=0;
		  killRace=0;
		__HAL_TIM_SET_COMPARE(&htim3,TIM_CHANNEL_1,0);
		__HAL_TIM_SET_COMPARE(&htim3,TIM_CHANNEL_2,0);
		__HAL_TIM_SET_COMPARE(&htim3,TIM_CHANNEL_3,0);
		__HAL_TIM_SET_COMPARE(&htim3,TIM_CHANNEL_4,0);
	  }

	  if(indexR_PC_RX!=indexW_PC_RX)
		  DecodeQT();

	  if(indexR_TxESP!=indexW_TxESP)
		  uartTX(UART_ESP);

	  if(indexR_Debug!=indexW_Debug)
		  uartTX(UART_PC);

	  if(indexR_RxESP!=indexW_RxESP)
		  DecodeAnsESP();

	  if((HAL_GPIO_ReadPin(GPIOB, GPIO_PIN_10)==GPIO_PIN_RESET)&&(!timeOut)){
		  HAL_GPIO_WritePin(GPIOB, GPIO_PIN_10, GPIO_PIN_SET);//ESP8266 Pin Enable
		  timeOut=30;
		  AT=1;
		  duty=0;
	  }
  }
  /* USER CODE END 3 */
}

void SystemClock_Config(void)
{
  RCC_OscInitTypeDef RCC_OscInitStruct = {0};
  RCC_ClkInitTypeDef RCC_ClkInitStruct = {0};

  /** Configure the main internal regulator output voltage
  */
  __HAL_RCC_PWR_CLK_ENABLE();
  __HAL_PWR_VOLTAGESCALING_CONFIG(PWR_REGULATOR_VOLTAGE_SCALE2);

  /** Initializes the RCC Oscillators according to the specified parameters
  * in the RCC_OscInitTypeDef structure.
  */
  RCC_OscInitStruct.OscillatorType = RCC_OSCILLATORTYPE_HSI;
  RCC_OscInitStruct.HSIState = RCC_HSI_ON;
  RCC_OscInitStruct.HSICalibrationValue = RCC_HSICALIBRATION_DEFAULT;
  RCC_OscInitStruct.PLL.PLLState = RCC_PLL_ON;
  RCC_OscInitStruct.PLL.PLLSource = RCC_PLLSOURCE_HSI;
  RCC_OscInitStruct.PLL.PLLM = 16;
  RCC_OscInitStruct.PLL.PLLN = 336;
  RCC_OscInitStruct.PLL.PLLP = RCC_PLLP_DIV4;
  RCC_OscInitStruct.PLL.PLLQ = 7;
  if (HAL_RCC_OscConfig(&RCC_OscInitStruct) != HAL_OK)
  {
    Error_Handler();
  }

  /** Initializes the CPU, AHB and APB buses clocks
  */
  RCC_ClkInitStruct.ClockType = RCC_CLOCKTYPE_HCLK|RCC_CLOCKTYPE_SYSCLK
                              |RCC_CLOCKTYPE_PCLK1|RCC_CLOCKTYPE_PCLK2;
  RCC_ClkInitStruct.SYSCLKSource = RCC_SYSCLKSOURCE_PLLCLK;
  RCC_ClkInitStruct.AHBCLKDivider = RCC_SYSCLK_DIV1;
  RCC_ClkInitStruct.APB1CLKDivider = RCC_HCLK_DIV2;
  RCC_ClkInitStruct.APB2CLKDivider = RCC_HCLK_DIV1;

  if (HAL_RCC_ClockConfig(&RCC_ClkInitStruct, FLASH_LATENCY_2) != HAL_OK)
  {
    Error_Handler();
  }
}

static void MX_ADC1_Init(void)
{

  ADC_ChannelConfTypeDef sConfig = {0};

  /** Configure the global features of the ADC (Clock, Resolution, Data Alignment and number of conversion)
  */
  hadc1.Instance = ADC1;
  hadc1.Init.ClockPrescaler = ADC_CLOCK_SYNC_PCLK_DIV4;
  hadc1.Init.Resolution = ADC_RESOLUTION_12B;
  hadc1.Init.ScanConvMode = ENABLE;
  hadc1.Init.ContinuousConvMode = DISABLE;
  hadc1.Init.DiscontinuousConvMode = DISABLE;
  hadc1.Init.ExternalTrigConvEdge = ADC_EXTERNALTRIGCONVEDGE_NONE;
  hadc1.Init.ExternalTrigConv = ADC_SOFTWARE_START;
  hadc1.Init.DataAlign = ADC_DATAALIGN_RIGHT;
  hadc1.Init.NbrOfConversion = 8;
  hadc1.Init.DMAContinuousRequests = ENABLE;
  hadc1.Init.EOCSelection = ADC_EOC_SEQ_CONV;
  if (HAL_ADC_Init(&hadc1) != HAL_OK)
  {
    Error_Handler();
  }

  /** Configure for the selected ADC regular channel its corresponding rank in the sequencer and its sample time.
  */
  sConfig.Channel = ADC_CHANNEL_0;
  sConfig.Rank = 1;
  sConfig.SamplingTime = ADC_SAMPLETIME_15CYCLES;
  if (HAL_ADC_ConfigChannel(&hadc1, &sConfig) != HAL_OK)
  {
    Error_Handler();
  }

  /** Configure for the selected ADC regular channel its corresponding rank in the sequencer and its sample time.
  */
  sConfig.Channel = ADC_CHANNEL_1;
  sConfig.Rank = 2;
  if (HAL_ADC_ConfigChannel(&hadc1, &sConfig) != HAL_OK)
  {
    Error_Handler();
  }

  /** Configure for the selected ADC regular channel its corresponding rank in the sequencer and its sample time.
  */
  sConfig.Channel = ADC_CHANNEL_4;
  sConfig.Rank = 3;
  if (HAL_ADC_ConfigChannel(&hadc1, &sConfig) != HAL_OK)
  {
    Error_Handler();
  }

  /** Configure for the selected ADC regular channel its corresponding rank in the sequencer and its sample time.
  */
  sConfig.Channel = ADC_CHANNEL_8;
  sConfig.Rank = 4;
  if (HAL_ADC_ConfigChannel(&hadc1, &sConfig) != HAL_OK)
  {
    Error_Handler();
  }

  /** Configure for the selected ADC regular channel its corresponding rank in the sequencer and its sample time.
  */
  sConfig.Channel = ADC_CHANNEL_11;
  sConfig.Rank = 5;
  if (HAL_ADC_ConfigChannel(&hadc1, &sConfig) != HAL_OK)
  {
    Error_Handler();
  }

  /** Configure for the selected ADC regular channel its corresponding rank in the sequencer and its sample time.
  */
  sConfig.Channel = ADC_CHANNEL_10;
  sConfig.Rank = 6;
  if (HAL_ADC_ConfigChannel(&hadc1, &sConfig) != HAL_OK)
  {
    Error_Handler();
  }

  /** Configure for the selected ADC regular channel its corresponding rank in the sequencer and its sample time.
  */
  sConfig.Channel = ADC_CHANNEL_12;
  sConfig.Rank = 7;
  if (HAL_ADC_ConfigChannel(&hadc1, &sConfig) != HAL_OK)
  {
    Error_Handler();
  }

  /** Configure for the selected ADC regular channel its corresponding rank in the sequencer and its sample time.
  */
  sConfig.Channel = ADC_CHANNEL_13;
  sConfig.Rank = 8;
  if (HAL_ADC_ConfigChannel(&hadc1, &sConfig) != HAL_OK)
  {
    Error_Handler();
  }

}

static void MX_I2C1_Init(void)
{

  hi2c1.Instance = I2C1;
  hi2c1.Init.ClockSpeed = 100000;
  hi2c1.Init.DutyCycle = I2C_DUTYCYCLE_2;
  hi2c1.Init.OwnAddress1 = 0;
  hi2c1.Init.AddressingMode = I2C_ADDRESSINGMODE_7BIT;
  hi2c1.Init.DualAddressMode = I2C_DUALADDRESS_DISABLE;
  hi2c1.Init.OwnAddress2 = 0;
  hi2c1.Init.GeneralCallMode = I2C_GENERALCALL_DISABLE;
  hi2c1.Init.NoStretchMode = I2C_NOSTRETCH_DISABLE;
  if (HAL_I2C_Init(&hi2c1) != HAL_OK)
  {
    Error_Handler();
  }

}

static void MX_TIM3_Init(void)
{

  TIM_ClockConfigTypeDef sClockSourceConfig = {0};
  TIM_MasterConfigTypeDef sMasterConfig = {0};
  TIM_OC_InitTypeDef sConfigOC = {0};

  htim3.Instance = TIM3;
  htim3.Init.Prescaler = 99;
  htim3.Init.CounterMode = TIM_COUNTERMODE_UP;
  htim3.Init.Period = 210;
  htim3.Init.ClockDivision = TIM_CLOCKDIVISION_DIV1;
  htim3.Init.AutoReloadPreload = TIM_AUTORELOAD_PRELOAD_ENABLE;
  if (HAL_TIM_Base_Init(&htim3) != HAL_OK)
  {
    Error_Handler();
  }
  sClockSourceConfig.ClockSource = TIM_CLOCKSOURCE_INTERNAL;
  if (HAL_TIM_ConfigClockSource(&htim3, &sClockSourceConfig) != HAL_OK)
  {
    Error_Handler();
  }
  if (HAL_TIM_PWM_Init(&htim3) != HAL_OK)
  {
    Error_Handler();
  }
  sMasterConfig.MasterOutputTrigger = TIM_TRGO_RESET;
  sMasterConfig.MasterSlaveMode = TIM_MASTERSLAVEMODE_DISABLE;
  if (HAL_TIMEx_MasterConfigSynchronization(&htim3, &sMasterConfig) != HAL_OK)
  {
    Error_Handler();
  }
  sConfigOC.OCMode = TIM_OCMODE_PWM1;
  sConfigOC.Pulse = 0;
  sConfigOC.OCPolarity = TIM_OCPOLARITY_HIGH;
  sConfigOC.OCFastMode = TIM_OCFAST_DISABLE;
  if (HAL_TIM_PWM_ConfigChannel(&htim3, &sConfigOC, TIM_CHANNEL_1) != HAL_OK)
  {
    Error_Handler();
  }
  if (HAL_TIM_PWM_ConfigChannel(&htim3, &sConfigOC, TIM_CHANNEL_2) != HAL_OK)
  {
    Error_Handler();
  }
  if (HAL_TIM_PWM_ConfigChannel(&htim3, &sConfigOC, TIM_CHANNEL_3) != HAL_OK)
  {
    Error_Handler();
  }
  if (HAL_TIM_PWM_ConfigChannel(&htim3, &sConfigOC, TIM_CHANNEL_4) != HAL_OK)
  {
    Error_Handler();
  }
  HAL_TIM_MspPostInit(&htim3);

}

static void MX_TIM4_Init(void)
{

  TIM_ClockConfigTypeDef sClockSourceConfig = {0};
  TIM_MasterConfigTypeDef sMasterConfig = {0};

  htim4.Instance = TIM4;
  htim4.Init.Prescaler = 999;
  htim4.Init.CounterMode = TIM_COUNTERMODE_UP;
  htim4.Init.Period = 42;
  htim4.Init.ClockDivision = TIM_CLOCKDIVISION_DIV1;
  htim4.Init.AutoReloadPreload = TIM_AUTORELOAD_PRELOAD_ENABLE;
  if (HAL_TIM_Base_Init(&htim4) != HAL_OK)
  {
    Error_Handler();
  }
  sClockSourceConfig.ClockSource = TIM_CLOCKSOURCE_INTERNAL;
  if (HAL_TIM_ConfigClockSource(&htim4, &sClockSourceConfig) != HAL_OK)
  {
    Error_Handler();
  }
  sMasterConfig.MasterOutputTrigger = TIM_TRGO_RESET;
  sMasterConfig.MasterSlaveMode = TIM_MASTERSLAVEMODE_DISABLE;
  if (HAL_TIMEx_MasterConfigSynchronization(&htim4, &sMasterConfig) != HAL_OK)
  {
    Error_Handler();
  }

}

static void MX_USART1_UART_Init(void)
{

  huart1.Instance = USART1;
  huart1.Init.BaudRate = 115200;
  huart1.Init.WordLength = UART_WORDLENGTH_8B;
  huart1.Init.StopBits = UART_STOPBITS_1;
  huart1.Init.Parity = UART_PARITY_NONE;
  huart1.Init.Mode = UART_MODE_TX_RX;
  huart1.Init.HwFlowCtl = UART_HWCONTROL_NONE;
  huart1.Init.OverSampling = UART_OVERSAMPLING_16;
  if (HAL_UART_Init(&huart1) != HAL_OK)
  {
    Error_Handler();
  }

}

static void MX_USART2_UART_Init(void)
{

  huart2.Instance = USART2;
  huart2.Init.BaudRate = 9600;
  huart2.Init.WordLength = UART_WORDLENGTH_8B;
  huart2.Init.StopBits = UART_STOPBITS_1;
  huart2.Init.Parity = UART_PARITY_NONE;
  huart2.Init.Mode = UART_MODE_TX_RX;
  huart2.Init.HwFlowCtl = UART_HWCONTROL_NONE;
  huart2.Init.OverSampling = UART_OVERSAMPLING_16;
  if (HAL_UART_Init(&huart2) != HAL_OK)
  {
    Error_Handler();
  }

}

static void MX_DMA_Init(void)
{

  /* DMA controller clock enable */
  __HAL_RCC_DMA2_CLK_ENABLE();

  /* DMA interrupt init */
  /* DMA2_Stream0_IRQn interrupt configuration */
  HAL_NVIC_SetPriority(DMA2_Stream0_IRQn, 0, 0);
  HAL_NVIC_EnableIRQ(DMA2_Stream0_IRQn);

}

static void MX_GPIO_Init(void)
{
  GPIO_InitTypeDef GPIO_InitStruct = {0};

  /* GPIO Ports Clock Enable */
  __HAL_RCC_GPIOC_CLK_ENABLE();
  __HAL_RCC_GPIOH_CLK_ENABLE();
  __HAL_RCC_GPIOA_CLK_ENABLE();
  __HAL_RCC_GPIOB_CLK_ENABLE();

  /*Configure GPIO pin Output Level */
  HAL_GPIO_WritePin(LD2_GPIO_Port, LD2_Pin, GPIO_PIN_RESET);

  /*Configure GPIO pin : B1_Pin */
  GPIO_InitStruct.Pin = B1_Pin;
  GPIO_InitStruct.Mode = GPIO_MODE_IT_FALLING;
  GPIO_InitStruct.Pull = GPIO_NOPULL;
  HAL_GPIO_Init(B1_GPIO_Port, &GPIO_InitStruct);

  /*Configure GPIO pin : LD2_Pin */
  GPIO_InitStruct.Pin = LD2_Pin;
  GPIO_InitStruct.Mode = GPIO_MODE_OUTPUT_PP;
  GPIO_InitStruct.Pull = GPIO_NOPULL;
  GPIO_InitStruct.Speed = GPIO_SPEED_FREQ_LOW;
  HAL_GPIO_Init(LD2_GPIO_Port, &GPIO_InitStruct);

}

void Error_Handler(void)
{
  __disable_irq();
  while (1)
  {
  }
}
